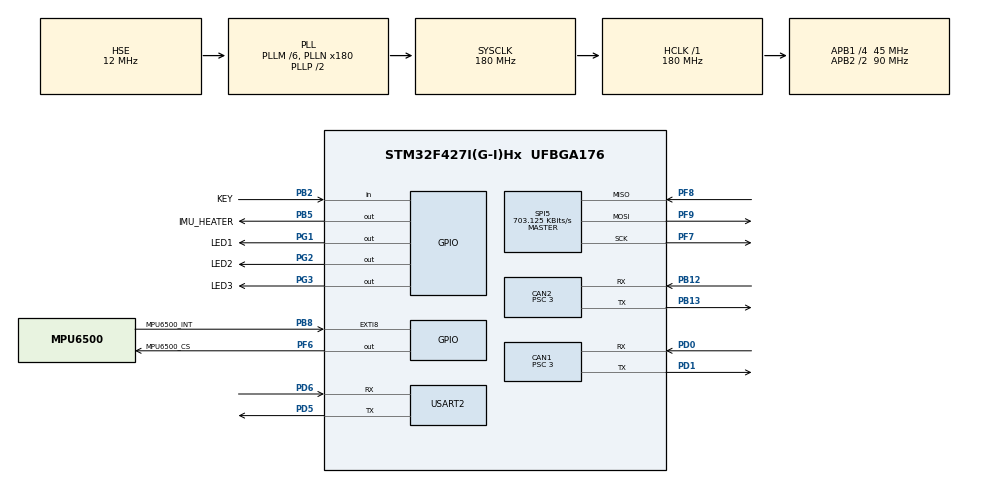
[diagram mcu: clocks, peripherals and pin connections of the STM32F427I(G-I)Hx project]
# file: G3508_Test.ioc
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CAN1.BS1=CAN_BS1_9TQ
CAN1.BS2=CAN_BS2_5TQ
CAN1.CalculateBaudRate=1000000
CAN1.CalculateTimeBit=1000
CAN1.CalculateTimeQuantum=66.66666666666666
CAN1.Prescaler=3
CAN2.BS1=CAN_BS1_9TQ
CAN2.BS2=CAN_BS2_5TQ
CAN2.CalculateBaudRate=1000000
CAN2.CalculateTimeBit=1000
CAN2.CalculateTimeQuantum=66.66666666666666
CAN2.Prescaler=3
Dma.Request0=USART2_RX
Dma.Request1=USART2_TX
Dma.Request2=SPI5_RX
Dma.Request3=SPI5_TX
Dma.SPI5_RX.2.Direction=DMA_PERIPH_TO_MEMORY
Dma.SPI5_RX.2.FIFOMode=DMA_FIFOMODE_DISABLE
Dma.SPI5_RX.2.Instance=DMA2_Stream3
Dma.SPI5_RX.2.MemDataAlignment=DMA_MDATAALIGN_BYTE
Dma.SPI5_RX.2.MemInc=DMA_MINC_ENABLE
Dma.SPI5_RX.2.Mode=DMA_NORMAL
Dma.SPI5_RX.2.PeriphDataAlignment=DMA_PDATAALIGN_BYTE
Dma.SPI5_RX.2.PeriphInc=DMA_PINC_DISABLE
Dma.SPI5_RX.2.Priority=DMA_PRIORITY_VERY_HIGH
Dma.SPI5_TX.3.Direction=DMA_MEMORY_TO_PERIPH
Dma.SPI5_TX.3.FIFOMode=DMA_FIFOMODE_DISABLE
Dma.SPI5_TX.3.Instance=DMA2_Stream4
Dma.SPI5_TX.3.MemDataAlignment=DMA_MDATAALIGN_BYTE
Dma.SPI5_TX.3.MemInc=DMA_MINC_ENABLE
Dma.SPI5_TX.3.Mode=DMA_NORMAL
Dma.SPI5_TX.3.PeriphDataAlignment=DMA_PDATAALIGN_BYTE
Dma.SPI5_TX.3.PeriphInc=DMA_PINC_DISABLE
Dma.SPI5_TX.3.Priority=DMA_PRIORITY_VERY_HIGH
Dma.USART2_RX.0.Direction=DMA_PERIPH_TO_MEMORY
Dma.USART2_RX.0.FIFOMode=DMA_FIFOMODE_DISABLE
Dma.USART2_RX.0.Instance=DMA1_Stream5
Dma.USART2_RX.0.MemDataAlignment=DMA_MDATAALIGN_BYTE
Dma.USART2_RX.0.MemInc=DMA_MINC_ENABLE
Dma.USART2_RX.0.Mode=DMA_CIRCULAR
Dma.USART2_RX.0.PeriphDataAlignment=DMA_PDATAALIGN_BYTE
Dma.USART2_RX.0.PeriphInc=DMA_PINC_DISABLE
Dma.USART2_RX.0.Priority=DMA_PRIORITY_LOW
Dma.USART2_TX.1.Direction=DMA_MEMORY_TO_PERIPH
Dma.USART2_TX.1.FIFOMode=DMA_FIFOMODE_DISABLE
Dma.USART2_TX.1.Instance=DMA1_Stream6
Dma.USART2_TX.1.MemDataAlignment=DMA_MDATAALIGN_BYTE
Dma.USART2_TX.1.MemInc=DMA_MINC_ENABLE
Dma.USART2_TX.1.Mode=DMA_NORMAL
Dma.USART2_TX.1.PeriphDataAlignment=DMA_PDATAALIGN_BYTE
Dma.USART2_TX.1.PeriphInc=DMA_PINC_DISABLE
Dma.USART2_TX.1.Priority=DMA_PRIORITY_LOW
Mcu.Family=STM32F4
Mcu.Name=STM32F427I(G-I)Hx
Mcu.Package=UFBGA176
NVIC.CAN1_RX0_IRQn=true\:0\:0\:false\:false\:true\:true\:true\:true
NVIC.CAN2_RX0_IRQn=true\:0\:0\:false\:false\:true\:true\:true\:true
NVIC.DMA1_Stream5_IRQn=true\:0\:0\:false\:false\:true\:false\:true\:true
NVIC.DMA1_Stream6_IRQn=true\:0\:0\:false\:false\:true\:false\:true\:true
NVIC.DMA2_Stream3_IRQn=true\:4\:0\:true\:false\:true\:false\:true\:true
NVIC.DMA2_Stream4_IRQn=true\:4\:0\:true\:false\:true\:false\:true\:true
NVIC.EXTI9_5_IRQn=true\:4\:0\:true\:false\:true\:true\:true\:true
NVIC.SPI5_IRQn=true\:4\:0\:true\:false\:true\:true\:true\:true
NVIC.PriorityGroup=NVIC_PRIORITYGROUP_4
NVIC.USART2_IRQn=true\:2\:0\:true\:false\:true\:true\:true\:true
PA13.Mode=Serial_Wire
PA13.Signal=SYS_JTMS-SWDIO
PA14.Mode=Serial_Wire
PA14.Signal=SYS_JTCK-SWCLK
PB12.Mode=CAN_Activate
PB12.Signal=CAN2_RX
PB13.Mode=CAN_Activate
PB13.Signal=CAN2_TX
PB2/BOOT1.GPIO_Label=KEY
PB2/BOOT1.Signal=GPIO_Input
PB5.GPIO_Label=IMU_HEATER
PB5.PinState=GPIO_PIN_RESET
PB5.Signal=GPIO_Output
PB8.GPIO_Label=MPU6500_INT
PB8.GPIO_ModeDefaultEXTI=GPIO_MODE_IT_RISING
PB8.GPIO_PuPd=GPIO_PULLDOWN
PB8.Signal=GPXTI8
PD0.GPIO_PuPd=GPIO_PULLUP
PD0.Mode=CAN_Activate
PD0.Signal=CAN1_RX
PD1.GPIO_PuPd=GPIO_PULLUP
PD1.Mode=CAN_Activate
PD1.Signal=CAN1_TX
PD5.Mode=Asynchronous
PD5.Signal=USART2_TX
PD6.Mode=Asynchronous
PD6.Signal=USART2_RX
PF6.GPIO_Label=MPU6500_CS
PF6.GPIO_Speed=GPIO_SPEED_FREQ_HIGH
PF6.PinState=GPIO_PIN_SET
PF6.Signal=GPIO_Output
PF7.Mode=Full_Duplex_Master
PF7.Signal=SPI5_SCK
PF8.Mode=Full_Duplex_Master
PF8.Signal=SPI5_MISO
PF9.Mode=Full_Duplex_Master
PF9.Signal=SPI5_MOSI
PG1.GPIO_Label=LED1
PG1.Signal=GPIO_Output
PG2.GPIO_Label=LED2
PG2.Signal=GPIO_Output
PG3.GPIO_Label=LED3
PG3.Signal=GPIO_Output
PH0/OSC_IN.Mode=HSE-External-Oscillator
PH0/OSC_IN.Signal=RCC_OSC_IN
PH1/OSC_OUT.Mode=HSE-External-Oscillator
PH1/OSC_OUT.Signal=RCC_OSC_OUT
ProjectManager.HeapSize=0x200
ProjectManager.StackSize=0x400
ProjectManager.TargetToolchain=CMake
RCC.48MHZClocksFreq_Value=90000000
RCC.AHBFreq_Value=180000000
RCC.APB1CLKDivider=RCC_HCLK_DIV4
RCC.APB1Freq_Value=45000000
RCC.APB1TimFreq_Value=90000000
RCC.APB2CLKDivider=RCC_HCLK_DIV2
RCC.APB2Freq_Value=90000000
RCC.APB2TimFreq_Value=180000000
RCC.CortexFreq_Value=180000000
RCC.HCLKFreq_Value=180000000
RCC.HSE_VALUE=12000000
RCC.HSI_VALUE=16000000
RCC.LSE_VALUE=32768
RCC.PLLM=6
RCC.PLLN=180
RCC.PLLSourceVirtual=RCC_PLLSOURCE_HSE
RCC.SYSCLKFreq_VALUE=180000000
RCC.SYSCLKSource=RCC_SYSCLKSOURCE_PLLCLK
RCC.VCOOutputFreq_Value=360000000
SPI5.BaudRatePrescaler=SPI_BAUDRATEPRESCALER_128
SPI5.CLKPhase=SPI_PHASE_1EDGE
SPI5.CLKPolarity=SPI_POLARITY_LOW
SPI5.CalculateBaudRate=703.125 KBits/s
SPI5.Direction=SPI_DIRECTION_2LINES
SPI5.Mode=SPI_MODE_MASTER
SPI5.VirtualType=VM_MASTER
USART2.VirtualMode=VM_ASYNC
board=custom

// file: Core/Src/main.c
/* USER CODE BEGIN Header */
/**
  ******************************************************************************
  * @file           : main.c
  * @brief          : Main program body
  ******************************************************************************
  * @attention
  *
  * Copyright (c) 2026 STMicroelectronics.
  * All rights reserved.
  *
  * This software is licensed under terms that can be found in the LICENSE file
  * in the root directory of this software component.
  * If no LICENSE file comes with this software, it is provided AS-IS.
  *
  ******************************************************************************
  */
/* USER CODE END Header */
#include "main.h"
#include "can.h"
#include "dma.h"
#include "usart.h"
#include "gpio.h"

/* USER CODE BEGIN Includes */
#include "headfile.h"
#include "pitch_continuous_cal.h"
#include "spi.h"
#include "imu_mpu6500.h"
#include "imu_attitude.h"
#include "imu_heater.h"
#include <math.h>
/* USER CODE END Includes */

/* USER CODE BEGIN PV */
#define TIME_TRIGGER(now,last,period) \
  for(uint32_t __t = (now) ; ((__t) - (last)) >= (period) ; (last) = __t)

volatile uint32_t g_tx_ret = 0;

/* USER CODE END PV */

void SystemClock_Config(void);

/* USER CODE BEGIN 0 */

uint8_t Key_State(void) {
  // 由 TIME_TRIGGER 每 10ms 采样一次，采样周期本身已消抖，直接读引脚（非阻塞）
  return HAL_GPIO_ReadPin(KEY_GPIO_Port, KEY_Pin);
}

void Set_Led_State(uint8_t state) {
  HAL_GPIO_WritePin(LED1_GPIO_Port, LED1_Pin, state);
  HAL_GPIO_WritePin(LED2_GPIO_Port, LED2_Pin, state);
  // LED3 留给 CAN 错误诊断用，不再随按键变化
}

#if DM_ID_CONFIG_MODE
static void DM_Id_Config_Led_Update(uint32_t now_ms) {
  GPIO_PinState led1 = GPIO_PIN_RESET;
  GPIO_PinState led2 = GPIO_PIN_RESET;
  GPIO_PinState led3 = GPIO_PIN_RESET;

  switch (g_dm_id_config.state) {
    case DM_ID_CONFIG_WAIT_KEY:
      led1 = ((now_ms / 500U) & 1U) ? GPIO_PIN_SET : GPIO_PIN_RESET;
      break;
    case DM_ID_CONFIG_RUNNING:
      led2 = GPIO_PIN_SET;
      break;
    case DM_ID_CONFIG_SUCCESS:
      led1 = GPIO_PIN_SET;
      led2 = GPIO_PIN_SET;
      break;
    case DM_ID_CONFIG_SAVED_REBOOT_REQUIRED:
      led1 = GPIO_PIN_SET;
      led2 = ((now_ms / 250U) & 1U) ? GPIO_PIN_SET : GPIO_PIN_RESET;
      break;
    case DM_ID_CONFIG_FAILED:
    default:
      led3 = GPIO_PIN_SET;
      break;
  }

  /* Board LEDs are active-low; ledN variables above mean logical "on". */
  HAL_GPIO_WritePin(LED1_GPIO_Port, LED1_Pin,
                    (led1 == GPIO_PIN_SET) ? GPIO_PIN_RESET : GPIO_PIN_SET);
  HAL_GPIO_WritePin(LED2_GPIO_Port, LED2_Pin,
                    (led2 == GPIO_PIN_SET) ? GPIO_PIN_RESET : GPIO_PIN_SET);
  HAL_GPIO_WritePin(LED3_GPIO_Port, LED3_Pin,
                    (led3 == GPIO_PIN_SET) ? GPIO_PIN_RESET : GPIO_PIN_SET);
}
#endif

// Debugger-only diagnostics; the CSV contains six angles plus successful-send interval.
volatile uint32_t g_uart_tx_started, g_uart_tx_busy_skips;
volatile uint32_t g_uart_tx_errors, g_uart_tx_recoveries;
volatile uint32_t g_uart_tx_last_start_ms;

// USART2 115200, DMA. Never queue old telemetry behind a busy transfer.
static uint8_t UART_Debug_Send(const char *msg, uint8_t telemetry) {
  static uint8_t tx_buffer[320];
  static uint32_t busy_since_ms;
  static uint8_t busy_seen, resync;
  static uint8_t have_previous_tx;
  static uint32_t previous_tx_cycles;
  if (msg == NULL) return 0;
  const uint32_t now = HAL_GetTick();
  if (huart2.gState != HAL_UART_STATE_READY) {
    ++g_uart_tx_busy_skips;
    if (!busy_seen) { busy_seen = 1U; busy_since_ms = now; }
    if ((uint32_t)(now - busy_since_ms) < 100U) return 0;
    // Even a full 320-byte buffer takes less than 28 ms at 115200/8N1.
    // Abort TX only; command reception must remain armed.
    busy_since_ms = now;
    if (HAL_UART_AbortTransmit(&huart2) != HAL_OK) {
      ++g_uart_tx_errors;
      return 0;
    }
    ++g_uart_tx_recoveries;
    resync = 1U;
  }
  busy_seen = 0U;
  const size_t prefix = resync ? 2U : 0U;
  size_t length = strlen(msg);
  while (length > 0U && (msg[length - 1U] == '\r' || msg[length - 1U] == '\n')) --length;
  // Reserve interval, two feedback torques, CRLF and terminating NUL.
  if (length == 0U || length > sizeof(tx_buffer) - prefix - (telemetry ? 48U : 3U)) {
    ++g_uart_tx_errors;
    return 0; // Never transmit a truncated CSV row.
  }
  if (resync) { tx_buffer[0] = '\r'; tx_buffer[1] = '\n'; }
  memcpy(tx_buffer + prefix, msg, length);
  // Read once after copying the six angles and checking DMA readiness.
  // Only interval formatting remains before DMA starts; this is a software
  // launch timestamp, not the exact first-bit time or the IMU sample time.
  if (!telemetry) {
    tx_buffer[prefix+length]='\r'; tx_buffer[prefix+length+1]='\n';
    if (HAL_UART_Transmit_DMA(&huart2,tx_buffer,(uint16_t)(prefix+length+2))!=HAL_OK) return 0;
    resync=0; return 1;
  }
  const float p_t_int = dm_motor[Pitch].t_int;
  const float y_t_int = dm_motor[Yaw].t_int;
  const uint32_t dwt_cycles = DWT->CYCCNT;
  // Unsigned subtraction handles CYCCNT wrap when successful sends are less
  // than one wrap period apart (~23.861 s at 180 MHz). First frame has no interval.
  const double tx_dt_ms = have_previous_tx ?
      (double)(uint32_t)(dwt_cycles - previous_tx_cycles) * 1000.0 / (double)SystemCoreClock : 0.0;
  const int tail = snprintf((char *)tx_buffer + prefix + length,
                            sizeof(tx_buffer) - prefix - length,
                            ",%.3f,%.3f,%.3f\r\n", tx_dt_ms, (double)p_t_int, (double)y_t_int);
  if (tail <= 0 || (size_t)tail >= sizeof(tx_buffer) - prefix - length) {
    ++g_uart_tx_errors;
    return 0;
  }
  if (HAL_UART_Transmit_DMA(&huart2, tx_buffer, (uint16_t)(length + prefix + (size_t)tail)) == HAL_OK) {
    previous_tx_cycles = dwt_cycles;
    have_previous_tx = 1U;
    ++g_uart_tx_started;
    g_uart_tx_last_start_ms = now;
    resync = 0U;
    return 1;
  } else {
    ++g_uart_tx_errors;
  }
  return 0;
}
void UART_Debug(const char *msg) { (void)UART_Debug_Send(msg,1U); }

#if !DM_ID_CONFIG_MODE
static void Gimbal_Status_Led_Update(void) {
  const GPIO_PinState yaw_level =
      (g_yaw_test.state == YAW_TEST_ACTIVE) ? GPIO_PIN_RESET : GPIO_PIN_SET;
  const GPIO_PinState pitch_level =
      (g_pitch_test.state == YAW_TEST_ACTIVE) ? GPIO_PIN_RESET : GPIO_PIN_SET;
  const GPIO_PinState fault_level =
      ((g_yaw_test.state == YAW_TEST_FAULT) ||
       (g_pitch_test.state == YAW_TEST_FAULT))
          ? GPIO_PIN_RESET : GPIO_PIN_SET;

  HAL_GPIO_WritePin(LED1_GPIO_Port, LED1_Pin, yaw_level);
  HAL_GPIO_WritePin(LED2_GPIO_Port, LED2_Pin, pitch_level);
  HAL_GPIO_WritePin(LED3_GPIO_Port, LED3_Pin, fault_level);
}
#endif

static uint32_t cycles_per_us = 0;

void DWT_Init(void) {
  CoreDebug->DEMCR |= CoreDebug_DEMCR_TRCENA_Msk;
  DWT->CYCCNT = 0;
  DWT->CTRL |= DWT_CTRL_CYCCNTENA_Msk;
  cycles_per_us = SystemCoreClock / 1000000;
}

uint32_t DWT_Read(void) {
  return DWT->CYCCNT / cycles_per_us;
}

#define RAD_TO_DEG 57.295779513f

/* USER CODE END 0 */

int main(void)
{

  /* MCU Configuration--------------------------------------------------------*/

  /* Reset of all peripherals, Initializes the Flash interface and the Systick. */
  HAL_Init();

  /* USER CODE BEGIN Init */
  if (HAL_RCC_DeInit() != HAL_OK)
  {
    Error_Handler();
  }
  /* USER CODE END Init */

  /* Configure the system clock */
  SystemClock_Config();

  /* Initialize all configured peripherals */
  MX_GPIO_Init();
  MX_DMA_Init();
  MX_CAN1_Init();
  MX_USART2_UART_Init();
  HAL_UART_Receive_IT(&huart2, &uart2_rx_byte, 1);
  MX_CAN2_Init();
  MX_SPI5_Init();
  /* USER CODE BEGIN 2 */
  DWT_Init();
  IMU_HeaterInit();
  IMU_SetSampleCallback(IMU_AttitudeProcess);
  IMU_Init();
  Can_Dispatch_Init();

#if DM_ID_CONFIG_MODE
  DM_Motor_Id_Config_Init();
#else
  int16_t target_command_rpm[Motor_Count] = {0};

  Shooter_Init(target_command_rpm);
  Gimbal_Yaw_Test_Init();
#if VISION_PROTOCOL_ENABLED
  const uint8_t vision_ready = Vision_Protocol_Init() ? 1U : 0U;
#endif

  uint32_t last_can_tx = 0;
#if VISION_PROTOCOL_ENABLED
  uint32_t last_vision_tx = 0;
  VisionMode_e vision_mode = VISION_MODE_AIM;
#else
  uint32_t last_dbg_ms = 0;
#endif
#endif

  /* USER CODE END 2 */

  /* Infinite loop */
  /* USER CODE BEGIN WHILE */
  while (1)
  {
    IMU_Service();
    IMU_Sample_t imu_latest;
    const uint8_t imu_stream_ok = IMU_GetSample(&imu_latest);
    IMU_HeaterService(HAL_GetTick(), &imu_latest, imu_stream_ok);
    IMU_AttitudeService(HAL_GetTick(), imu_stream_ok, g_imu_heater.stable);

#if DM_ID_CONFIG_MODE
    const uint32_t now_ms = HAL_GetTick();
    DM_Motor_Id_Config_Update(now_ms, HAL_GPIO_ReadPin(KEY_GPIO_Port, KEY_Pin));
    DM_Id_Config_Led_Update(now_ms);
#else
    uint32_t now_us = DWT_Read();
    uint32_t now_ms = HAL_GetTick();

    Gimbal_Yaw_Test_Update(now_ms, HAL_GPIO_ReadPin(KEY_GPIO_Port, KEY_Pin));

#if VISION_PROTOCOL_ENABLED
    Vision_Protocol_Service();

    VisionToGimbalCommand_t vision_command;
    if (vision_ready && Vision_Get_Latest_Command(
                            &vision_command, now_ms)) {
      if (vision_command.mode == VISION_MODE_DISABLED) {
        Gimbal_Stop_All();
      } else {
        Gimbal_Enable_All();
        (void)Gimbal_Yaw_Set_Max_Speed_Deg(
            fabsf(vision_command.target_yaw_vel_rad_s) * RAD_TO_DEG);
        (void)Gimbal_Pitch_Set_Max_Speed_Deg(
            fabsf(vision_command.target_pitch_vel_rad_s) * RAD_TO_DEG);
        (void)Gimbal_Yaw_Set_Target_Rad(vision_command.target_yaw_rad);
        (void)Gimbal_Pitch_Set_Target_Rad(vision_command.target_pitch_rad);
      }
    }
#else
    UART_Poll_Command(target_command_rpm);
    const uint8_t command_ack_visible = UART_Command_Ack_Update(now_ms);
    if (!command_ack_visible) {
      Gimbal_Status_Led_Update();
    }
#endif

#if VISION_PROTOCOL_ENABLED
    TIME_TRIGGER(now_us, last_vision_tx, VISION_TX_PERIOD_US) {
      if (vision_ready) {
        GimbalToVisionData_t vision_state = {
            .mode = vision_mode,
            .q = {1.0f, 0.0f, 0.0f, 0.0f},
            .yaw_rad = g_yaw_test.measured_relative_rad,
            .yaw_vel_rad_s = g_yaw_test.measured_velocity_rad_s,
            .pitch_rad = g_pitch_test.measured_relative_rad,
            .pitch_vel_rad_s = g_pitch_test.measured_velocity_rad_s,
            .bullet_speed_m_s = 23.0f,
            .bullet_count = 0U,
        };
        (void)Vision_Send_Gimbal_State(&vision_state);
      }
    }
#endif

    TIME_TRIGGER(now_us,last_can_tx,CAN_TX_PERIOD_US) {
      for (uint8_t i = 0; i < Motor_Count; i++)
      {
        MotorID_e id = (MotorID_e)i;
        target_speed_rpm[id] = (float)target_command_rpm[id];

        if (Motor_Feedback_Valid(id, now_us))
        {
          current_cmd[id] = (int16_t)PID_Calculate(
              &pid_spd[id], motor_feedback[id].speed_rmp,
              target_speed_rpm[id]);
        }
        else
        {
          current_cmd[id] = 0;
          PID_Reset(&pid_spd[id]);
        }
      }

      // The four 0x200 data slots map to feedback IDs 0x201 through 0x204.
      g_tx_ret = CAN_Send_Motor_Current(
          current_cmd[Friction_Left], current_cmd[Friction_Right],
          current_cmd[Feeder], current_cmd[DJI_Motor_Reserved]);
  }

#if !VISION_PROTOCOL_ENABLED
  TIME_TRIGGER(HAL_GetTick(), last_dbg_ms, DBG_PRINT_PERIOD_US / 1000U)
  {
    char report[320];
    if (Gimbal_Load_Report_Line(report,sizeof(report))) {
      if (UART_Debug_Send(report,0U)) Gimbal_Load_Report_Advance();
    } else if (!Gimbal_Load_Telemetry_Paused()) {
    /* Fixed FireWater CSV: six angles in degrees plus successful-send interval in ms:
     * p_cmd,p_enc,y_cmd,y_enc,imu_pitch,imu_yaw,tx_dt_ms,p_t_int,y_t_int.
     * Commands are planned control setpoints, not final user targets.
     * Encoders retain the first-enable zero; do not subtract the IMU origin.
     * Display pitch sign matches the measured installation; fusion is unchanged.
     * Yaw is wrapped ZYX heading (+left in the native sensor frame).
     * Before publication IMU values are zero; on a fault they hold the last
     * published sample. Validity/fault details remain available in the debugger.
     * In inertial Yaw mode y_cmd uses the inertial origin, while y_enc remains
     * encoder-relative. Their difference is only meaningful in encoder mode.
     */
    IMU_AttitudeSample_t attitude;
    (void)IMU_AttitudeGet(HAL_GetTick(), &attitude);
    char dbg_buf[320];
    snprintf(dbg_buf, sizeof(dbg_buf),
             "%.3f,%.3f,%.3f,%.3f,%.3f,%.3f\r\n",
             g_pitch_test.command_relative_rad * RAD_TO_DEG,
             g_pitch_test.measured_relative_rad * RAD_TO_DEG,
             g_yaw_test.command_relative_rad * RAD_TO_DEG,
             g_yaw_test.measured_relative_rad * RAD_TO_DEG,
             -attitude.pitch_up_rad * RAD_TO_DEG,
             attitude.yaw_left_rad * RAD_TO_DEG);
    UART_Debug(dbg_buf);
    }
  }
#endif
#endif
    /* USER CODE END WHILE */

  }
}

void SystemClock_Config(void)
{
  RCC_OscInitTypeDef RCC_OscInitStruct = {0};
  RCC_ClkInitTypeDef RCC_ClkInitStruct = {0};

  /** Configure the main internal regulator output voltage
  */
  __HAL_RCC_PWR_CLK_ENABLE();
  __HAL_PWR_VOLTAGESCALING_CONFIG(PWR_REGULATOR_VOLTAGE_SCALE1);

  /** Initializes the RCC Oscillators according to the specified parameters
  * in the RCC_OscInitTypeDef structure.
  */
  RCC_OscInitStruct.OscillatorType = RCC_OSCILLATORTYPE_HSE;
  RCC_OscInitStruct.HSEState = RCC_HSE_ON;
  RCC_OscInitStruct.PLL.PLLState = RCC_PLL_ON;
  RCC_OscInitStruct.PLL.PLLSource = RCC_PLLSOURCE_HSE;
  RCC_OscInitStruct.PLL.PLLM = 6;
  RCC_OscInitStruct.PLL.PLLN = 180;
  RCC_OscInitStruct.PLL.PLLP = RCC_PLLP_DIV2;
  RCC_OscInitStruct.PLL.PLLQ = 4;
  if (HAL_RCC_OscConfig(&RCC_OscInitStruct) != HAL_OK)
  {
    Error_Handler();
  }

  /** Activate the Over-Drive mode
  */
  if (HAL_PWREx_EnableOverDrive() != HAL_OK)
  {
    Error_Handler();
  }

  /** Initializes the CPU, AHB and APB buses clocks
  */
  RCC_ClkInitStruct.ClockType = RCC_CLOCKTYPE_HCLK|RCC_CLOCKTYPE_SYSCLK
                              |RCC_CLOCKTYPE_PCLK1|RCC_CLOCKTYPE_PCLK2;
  RCC_ClkInitStruct.SYSCLKSource = RCC_SYSCLKSOURCE_PLLCLK;
  RCC_ClkInitStruct.AHBCLKDivider = RCC_SYSCLK_DIV1;
  RCC_ClkInitStruct.APB1CLKDivider = RCC_HCLK_DIV4;
  RCC_ClkInitStruct.APB2CLKDivider = RCC_HCLK_DIV2;

  if (HAL_RCC_ClockConfig(&RCC_ClkInitStruct, FLASH_LATENCY_5) != HAL_OK)
  {
    Error_Handler();
  }
}

/* USER CODE BEGIN 4 */

void HAL_GPIO_EXTI_Callback(uint16_t pin) {
  if (pin == MPU6500_INT_Pin) IMU_OnDataReady();
}

void HAL_SPI_TxRxCpltCallback(SPI_HandleTypeDef *spi) {
  if (spi == &hspi5) IMU_OnTransferComplete();
}

void HAL_SPI_ErrorCallback(SPI_HandleTypeDef *spi) {
  if (spi == &hspi5) IMU_OnSpiError(spi->ErrorCode);
}

/**
  * @brief  CAN FIFO0 接收中断回调
  * @note   必须在此取出消息并释放 FIFO0，否则 C620 持续回发反馈帧时，
  *         RX_FIFO0_MSG_PENDING 会反复触发最高优先级中断，卡死主循环。
  */

/* USER CODE END 4 */

void Error_Handler(void)
{
  __disable_irq();
  while (1)
  {
  }
}
